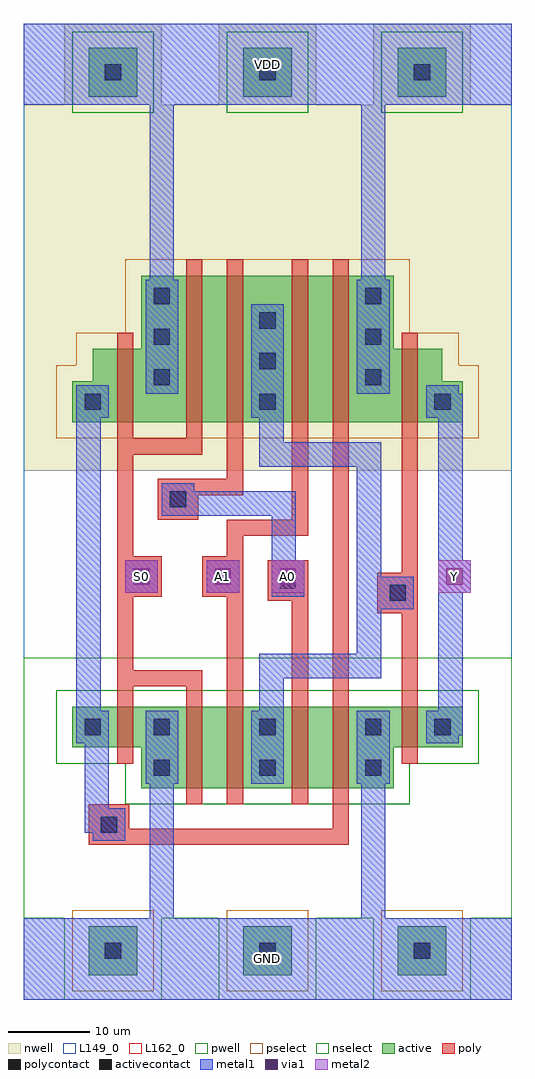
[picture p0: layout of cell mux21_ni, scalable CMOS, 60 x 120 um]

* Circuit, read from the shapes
.subckt mux21_ni A0 A1 GND S0 VDD Y
M1 GND S0 n1 GND nfet w=5u l=2u
M2 n2 S0 GND GND nfet w=10u l=2u
M3 n3 A1 n2 GND nfet w=10u l=2u
M4 n4 A0 n3 GND nfet w=10u l=2u
M5 GND n1 n4 GND nfet w=10u l=2u
M6 Y n3 GND GND nfet w=5u l=2u
M7 VDD S0 n1 VDD pfet w=9u l=2u
M8 n5 S0 VDD VDD pfet w=18u l=2u
M9 n3 A0 n5 VDD pfet w=18u l=2u
M10 n6 A1 n3 VDD pfet w=18u l=2u
M11 VDD n1 n6 VDD pfet w=18u l=2u
M12 Y n3 VDD VDD pfet w=9u l=2u
.ends

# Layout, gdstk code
import gdstk
lib = gdstk.Library(unit=1e-6, precision=1e-09)
def R(c, l, rs):  # rectangles x0, y0, x1, y1
    for r in rs: c.add(gdstk.rectangle(r[:2], r[2:], *l))
def A(c, l, x, y, w, h, nx, ny, dx, dy):  # array of equal rectangles
    R(c, l, [(x+i*dx, y+j*dy, x+i*dx+w, y+j*dy+h) for i in range(nx) for j in range(ny)])
def P(c, l, *ps):  # polygons
    for p in ps: c.add(gdstk.Polygon(p, *l))
pwell = (41, 0)
nwell = (42, 0)
active = (43, 0)
pselect = (44, 0)
nselect = (45, 0)
poly = (46, 0)
polycontact = (47, 0)
activecontact = (48, 0)
metal1 = (49, 0)
via1 = (50, 0)
metal2 = (51, 0)
L149_0 = (149, 0)
L162_0 = (162, 0)

via = lib.new_cell('via')
R(via, metal1, [(-2,-2,2,2)])
R(via, via1, [(-1,-1,1,1)])
R(via, metal2, [(-2,-2,2,2)])

mux21_ni = lib.new_cell('mux21_ni')
A(mux21_ni, pwell, 5, 0, 12, 11, 3, 1, 19, 0)
R(mux21_ni, pwell, [(0,10,60,20), (0,20,60,42)])
P(mux21_ni, pwell, [(51.5,20),(51.5,25),(60,25),(60,42),(0,42),(0,25),(8.5,25),(8.5,20)])
A(mux21_ni, nwell, 5, 109, 12, 11, 3, 1, 19, 0)
R(mux21_ni, nwell, [(0,65,60,95), (0,95,60,110)])
P(mux21_ni, nwell, [(60,65),(60,82),(57.5,82),(57.5,86),(51.5,86),(51.5,95),(8.5,95),(8.5,86),(2.5,86),(2.5,82),(0,82),(0,65)])
A(mux21_ni, active, 8, 3, 6, 6, 3, 2, 19, 108)
R(mux21_ni, active, [(6,31,11.5,36), (48.5,31,54,36)])
P(mux21_ni, active, [(45.5,26),(45.5,31),(54,31),(54,36),(6,36),(6,31),(14.5,31),(14.5,26)],
  [(11.5,71),(11.5,80),(8.5,80),(8.5,76),(6,76),(6,71)],
  [(54,71),(54,76),(51.5,76),(51.5,80),(45.5,80),(45.5,89),(14.5,89),(14.5,80),(8.5,80),(8.5,76),(6,76),(6,71)],
  [(54,71),(54,76),(51.5,76),(51.5,80),(48.5,80),(48.5,71)])
A(mux21_ni, pselect, 6, 1, 10, 10, 3, 1, 19, 0)
P(mux21_ni, pselect, [(56,69),(56,78),(53.5,78),(53.5,82),(47.5,82),(47.5,91),(12.5,91),(12.5,82),(6.5,82),(6.5,78),(4,78),(4,69)])
A(mux21_ni, nselect, 6, 109, 10, 10, 3, 1, 19, 0)
P(mux21_ni, nselect, [(47.5,24),(47.5,29),(56,29),(56,38),(4,38),(4,29),(12.5,29),(12.5,24)])
R(mux21_ni, poly, [(8,19,13,24), (20,24,22,26), (25,24,27,26), (33,24,35,26), (38,24,40,26), (20,26,22,36), (25,26,27,36), (33,26,35,36), (38,26,40,36), (11.5,29,13.5,31), (46.5,29,48.5,31), (11.5,31,13.5,36), (46.5,31,48.5,36), (11.5,36,13.5,38), (20,36,22,38), (25,36,27,38), (33,36,35,38), (38,36,40,38), (46.5,36,48.5,38), (43.5,47.5,48.5,52.5), (30,49,35,54), (12,49.5,17,54.5), (22,49.5,27,54.5), (16.5,59,21.5,64), (11.5,69,13.5,71), (20,69,22,71), (25,69,27,71), (33,69,35,71), (38,69,40,71), (46.5,69,48.5,71), (11.5,71,13.5,80), (20,71,22,89), (25,71,27,89), (33,71,35,89), (38,71,40,89), (46.5,71,48.5,80), (11.5,80,13.5,82), (46.5,80,48.5,82), (20,89,22,91), (25,89,27,91), (33,89,35,91), (38,89,40,91)])
R(mux21_ni, polycontact, [(9.5,20.5,11.5,22.5), (45,49,47,51), (31.5,50.5,33.5,52.5), (13.5,51,15.5,53), (23.5,51,25.5,53), (18,60.5,20,62.5)])
A(mux21_ni, activecontact, 10, 5, 2, 2, 3, 2, 19, 108)
A(mux21_ni, activecontact, 16, 27.5, 2, 2, 3, 2, 13, 5)
A(mux21_ni, activecontact, 7.5, 72.5, 2, 2, 3, 1, 21.5, 0)
A(mux21_ni, activecontact, 16, 75.5, 2, 2, 1, 3, 0, 5)
A(mux21_ni, activecontact, 42, 75.5, 2, 2, 1, 3, 0, 5)
R(mux21_ni, activecontact, [(7.5,32.5,9.5,34.5), (50.5,32.5,52.5,34.5), (29,77.5,31,79.5), (29,82.5,31,84.5)])
A(mux21_ni, metal1, 15, 26.5, 4, 9, 3, 1, 13, 0)
R(mux21_ni, metal1, [(0,0,60,10), (0,0,60,10), (8.5,19.5,12.5,23.5), (6.5,31.5,10.5,35.5), (49.5,31.5,53.5,35.5), (44,48,48,52), (30.5,49.5,34.5,53.5), (12.5,50,16.5,54), (22.5,50,26.5,54), (17,59.5,21,63.5), (6.5,71.5,10.5,75.5), (28,71.5,32,85.5), (49.5,71.5,53.5,75.5), (15,74.5,19,88.5), (41,74.5,45,88.5), (0,110,60,120), (0,110,60,120)])
R(mux21_ni, metal2, [(12.5,50,16.5,54), (22.5,50,26.5,54), (30.5,50,34.5,54), (51,50,55,54)])
R(mux21_ni, L149_0, [(0,0,60,120)])
R(mux21_ni, L162_0, [(12.5,50,16.5,54), (22.5,50,26.5,54), (30.5,50,34.5,54), (51,50,55,54)])
mux21_ni.add(gdstk.FlexPath([(47.5,38),(47.5,69)], 2, ends="flush", simple_path=True, layer=46, datatype=0))  # poly
mux21_ni.add(gdstk.FlexPath([(12.5,38),(12.5,69)], 2, ends="flush", simple_path=True, layer=46, datatype=0))  # poly
mux21_ni.add(gdstk.FlexPath([(39,69),(39,38)], 2, ends="flush", simple_path=True, layer=46, datatype=0))  # poly
mux21_ni.add(gdstk.FlexPath([(22,68),(13.5,68)], 2, ends="flush", simple_path=True, layer=46, datatype=0))  # poly
mux21_ni.add(gdstk.FlexPath([(13,20),(39,20),(39,24)], 2, ends="flush", simple_path=True, layer=46, datatype=0))  # poly
mux21_ni.add(gdstk.FlexPath([(26,38),(26,49.5)], 2, ends="flush", simple_path=True, layer=46, datatype=0))  # poly
mux21_ni.add(gdstk.FlexPath([(21,38),(21,39.5),(13.5,39.5)], 2, ends="flush", simple_path=True, layer=46, datatype=0))  # poly
mux21_ni.add(gdstk.FlexPath([(26,54.5),(26,58),(34,58),(34,69)], 2, ends="flush", simple_path=True, layer=46, datatype=0))  # poly
mux21_ni.add(gdstk.FlexPath([(26,69),(26,63),(21.5,63)], 2, ends="flush", simple_path=True, layer=46, datatype=0))  # poly
mux21_ni.add(gdstk.FlexPath([(34,49),(34,38)], 2, ends="flush", simple_path=True, layer=46, datatype=0))  # poly
mux21_ni.add(gdstk.FlexPath([(17,88.5),(17,110)], 3, ends="flush", simple_path=True, layer=49, datatype=0))  # metal1
mux21_ni.add(gdstk.FlexPath([(43,88.5),(43,110)], 3, ends="flush", simple_path=True, layer=49, datatype=0))  # metal1
mux21_ni.add(gdstk.FlexPath([(17,26.5),(17,10)], 3, ends="flush", simple_path=True, layer=49, datatype=0))  # metal1
mux21_ni.add(gdstk.FlexPath([(43,26.5),(43,10)], 3, ends="flush", simple_path=True, layer=49, datatype=0))  # metal1
mux21_ni.add(gdstk.FlexPath([(9,31.5),(9,20.5)], 3, ends="flush", simple_path=True, layer=49, datatype=0))  # metal1
mux21_ni.add(gdstk.FlexPath([(30.5,35.5),(30.5,41),(42.5,41),(42.5,67),(30.5,67),(30.5,71.5)], 3, ends="flush", simple_path=True, layer=49, datatype=0))  # metal1
mux21_ni.add(gdstk.FlexPath([(52.5,32.5),(52.5,74.5)], 3, ends="flush", simple_path=True, layer=49, datatype=0))  # metal1
mux21_ni.add(gdstk.FlexPath([(8,71.5),(8,35.5)], 3, ends="flush", simple_path=True, layer=49, datatype=0))  # metal1
mux21_ni.add(gdstk.FlexPath([(21,61),(32,61),(32,54)], 3, ends="flush", simple_path=True, layer=49, datatype=0))  # metal1
mux21_ni.add(gdstk.Reference(via, (53,52)))
mux21_ni.add(gdstk.Reference(via, (14.5,52)))
mux21_ni.add(gdstk.Reference(via, (32.5,52)))
mux21_ni.add(gdstk.Reference(via, (24.5,52)))
mux21_ni.add(gdstk.Label('S0', (14.5,52), layer=3, texttype=0))
mux21_ni.add(gdstk.Label('A1', (24.5,52), layer=3, texttype=0))
mux21_ni.add(gdstk.Label('A0', (32.5,52), layer=3, texttype=0))
mux21_ni.add(gdstk.Label('Y', (53,52), layer=3, texttype=0))
mux21_ni.add(gdstk.Label('GND', (30,5), layer=2, texttype=0))
mux21_ni.add(gdstk.Label('VDD', (30,115), layer=2, texttype=0))

lib.write_gds('mux21_ni.gds')
